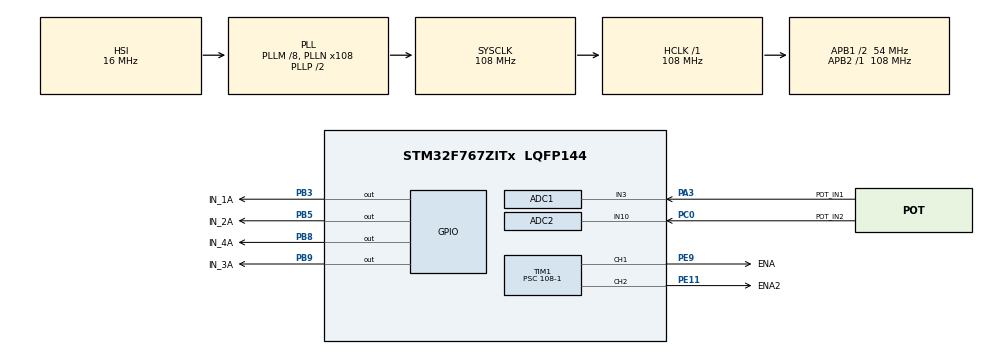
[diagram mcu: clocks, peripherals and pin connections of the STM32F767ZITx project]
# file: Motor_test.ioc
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ADC1.Channel-0\#ChannelRegularConversion=ADC_CHANNEL_3
ADC1.NbrOfConversionFlag=1
ADC1.Rank-0\#ChannelRegularConversion=1
ADC1.SamplingTime-0\#ChannelRegularConversion=ADC_SAMPLETIME_3CYCLES
ADC1.master=1
ADC2.Channel-0\#ChannelRegularConversion=ADC_CHANNEL_10
ADC2.NbrOfConversionFlag=1
ADC2.Rank-0\#ChannelRegularConversion=1
ADC2.SamplingTime-0\#ChannelRegularConversion=ADC_SAMPLETIME_3CYCLES
Mcu.Family=STM32F7
Mcu.Name=STM32F767ZITx
Mcu.Package=LQFP144
NVIC.PriorityGroup=NVIC_PRIORITYGROUP_4
PA13.Mode=Serial_Wire
PA13.Signal=SYS_JTMS-SWDIO
PA14.Mode=Serial_Wire
PA14.Signal=SYS_JTCK-SWCLK
PA3.GPIO_Label=POT_IN1
PA3.Signal=SharedAnalog_PA3
PB3.GPIO_Label=IN_1A
PB3.Signal=GPIO_Output
PB5.GPIO_Label=IN_2A
PB5.Signal=GPIO_Output
PB8.GPIO_Label=IN_4A
PB8.Signal=GPIO_Output
PB9.GPIO_Label=IN_3A
PB9.Signal=GPIO_Output
PC0.GPIO_Label=POT_IN2
PC0.Signal=SharedAnalog_PC0
PE11.GPIO_Label=ENA2
PE11.Signal=S_TIM1_CH2
PE9.GPIO_Label=ENA
PE9.Signal=S_TIM1_CH1
PH0/OSC_IN.Mode=HSE-External-Oscillator
PH0/OSC_IN.Signal=RCC_OSC_IN
PH1/OSC_OUT.Mode=HSE-External-Oscillator
PH1/OSC_OUT.Signal=RCC_OSC_OUT
ProjectManager.HeapSize=0x200
ProjectManager.StackSize=0x400
ProjectManager.TargetToolchain=STM32CubeIDE
RCC.48MHZClocksFreq_Value=24000000
RCC.AHBFreq_Value=108000000
RCC.APB1CLKDivider=RCC_HCLK_DIV2
RCC.APB1Freq_Value=54000000
RCC.APB1TimFreq_Value=108000000
RCC.APB2Freq_Value=108000000
RCC.APB2TimFreq_Value=108000000
RCC.CortexFreq_Value=108000000
RCC.HCLKFreq_Value=108000000
RCC.HSE_VALUE=8000000
RCC.HSI_VALUE=16000000
RCC.LSE_VALUE=32768
RCC.PLLM=8
RCC.PLLMUL=RCC_PLL_MUL9
RCC.PLLN=108
RCC.PRESCALERUSB=RCC_USBCLKSOURCE_PLL_DIV1_5
RCC.SYSCLKFreq_VALUE=108000000
RCC.SYSCLKSource=RCC_SYSCLKSOURCE_PLLCLK
RCC.SYSCLKSourceVirtual=RCC_SYSCLKSOURCE_PLLCLK
RCC.USBFreq_Value=108000000
RCC.VCOOutputFreq_Value=216000000
SH.S_TIM1_CH1.0=TIM1_CH1,PWM Generation1 CH1
SH.S_TIM1_CH2.0=TIM1_CH2,PWM Generation2 CH2
SH.SharedAnalog_PA3.0=GPIO_Analog
SH.SharedAnalog_PA3.1=ADC1_IN3,IN3
SH.SharedAnalog_PC0.0=GPIO_Analog
SH.SharedAnalog_PC0.1=ADC2_IN10,IN10
TIM1.Channel-PWM\ Generation1\ CH1=TIM_CHANNEL_1
TIM1.Channel-PWM\ Generation2\ CH2=TIM_CHANNEL_2
TIM1.Period=4095
TIM1.Prescaler=108-1
VP_TIM1_VS_ClockSourceINT.Mode=Internal
board=NUCLEO-F767ZI

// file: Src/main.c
/* USER CODE BEGIN Header */
/**
  ******************************************************************************
  * @file           : main.c
  * @brief          : Main program body
  ******************************************************************************
  * @attention
  *
  * Copyright (c) 2025 STMicroelectronics.
  * All rights reserved.
  *
  * This software is licensed under terms that can be found in the LICENSE file
  * in the root directory of this software component.
  * If no LICENSE file comes with this software, it is provided AS-IS.
  *
  ******************************************************************************
  */
/* USER CODE END Header */
#include "main.h"

/* USER CODE BEGIN PD */
#define MOTOR_MIN 0
#define MOTOR_MAX 4095

#define ADC_MAX_VALUE 4095  /* 12-bit ADC: 0..4095 */
#define DeadZone_MIN 1950
#define DeadZone_MAX 2146
#define SteeringSpeed_MIN 150
/* USER CODE END PD */

ADC_HandleTypeDef hadc1;
ADC_HandleTypeDef hadc2;

TIM_HandleTypeDef htim1;

/* USER CODE BEGIN PV */

uint16_t wheel_adc = 0;
uint16_t current_speed = 0;
uint16_t aks_adc = 0;
uint16_t controlspeed = 0;

/* USER CODE END PV */

void SystemClock_Config(void);
static void MX_GPIO_Init(void);
static void MX_TIM1_Init(void);
static void MX_ADC1_Init(void);
static void MX_ADC2_Init(void);

int main(void)
{

  /* MCU Configuration--------------------------------------------------------*/

  /* Reset of all peripherals, Initializes the Flash interface and the Systick. */
  HAL_Init();

  /* Configure the system clock */
  SystemClock_Config();

  /* Initialize all configured peripherals */
  MX_GPIO_Init();
  MX_TIM1_Init();
  MX_ADC1_Init();
  MX_ADC2_Init();
  /* USER CODE BEGIN 2 */
  HAL_TIM_PWM_Start(&htim1, TIM_CHANNEL_1);  // Note that htim1 is the handle generated by CubeMX for TIM1
  HAL_TIM_PWM_Start(&htim1, TIM_CHANNEL_2);  // Note that htim1 is the handle generated by CubeMX for TIM1

  HAL_GPIO_WritePin(IN_1A_GPIO_Port, IN_1A_Pin, GPIO_PIN_RESET);
  HAL_GPIO_WritePin(IN_2A_GPIO_Port, IN_2A_Pin, GPIO_PIN_SET);
  HAL_GPIO_WritePin(IN_3A_GPIO_Port, IN_3A_Pin, GPIO_PIN_RESET);
  HAL_GPIO_WritePin(IN_4A_GPIO_Port, IN_4A_Pin, GPIO_PIN_SET);
  /* USER CODE END 2 */

  /* Infinite loop */
  while (1)
  {

    /* USER CODE BEGIN 3 */
      HAL_ADC_Start(&hadc1);
      HAL_ADC_PollForConversion(&hadc1, HAL_MAX_DELAY);
      wheel_adc = HAL_ADC_GetValue(&hadc1);

      HAL_ADC_Start(&hadc2);
      HAL_ADC_PollForConversion(&hadc2, HAL_MAX_DELAY);
      aks_adc = HAL_ADC_GetValue(&hadc2);

      /* scale ADC (0..4095) to MOTOR_MIN..MOTOR_MAX safely using 32-bit math */
      current_speed = (uint16_t)(( (uint32_t)wheel_adc * (uint32_t)(MOTOR_MAX - MOTOR_MIN) + (ADC_MAX_VALUE/2) ) / ADC_MAX_VALUE + MOTOR_MIN);

      // Left steering logic
      if (aks_adc < 1950)
      {
        if(current_speed < 150)
        {
          controlspeed = current_speed;
        }

        else if (current_speed <= 1500)
        {
         controlspeed = current_speed - ((aks_adc * (0-500))/1950 + 500);
        }

        else
        {
        controlspeed = current_speed - ((aks_adc * (0-1500))/1950 + 1500);
        }

        __HAL_TIM_SET_COMPARE(&htim1,TIM_CHANNEL_1, controlspeed);
        __HAL_TIM_SET_COMPARE(&htim1, TIM_CHANNEL_2, current_speed);

      }

      // checks if the wheel is within the deadzone, aka the wheel is in the middle
      if (aks_adc >= DeadZone_MIN && aks_adc <= DeadZone_MAX)
      {
        __HAL_TIM_SET_COMPARE(&htim1,TIM_CHANNEL_1, current_speed);
        __HAL_TIM_SET_COMPARE(&htim1, TIM_CHANNEL_2, current_speed);
      }

      // Right steering logic
      if (aks_adc > 2146)
      {
        if(current_speed < 150)
        {
          controlspeed = current_speed;
        }

        else if (current_speed <= 1500)
        {
          controlspeed = current_speed - ((aks_adc-2146)*500)/(4095-2146);
        }

        else
        {
         controlspeed = current_speed - ((aks_adc-2146)*1500)/(4095-2146);
        }
         __HAL_TIM_SET_COMPARE(&htim1,TIM_CHANNEL_1, current_speed);
        __HAL_TIM_SET_COMPARE(&htim1, TIM_CHANNEL_2, controlspeed);
      }
      HAL_Delay(500);

  }
  /* USER CODE END 3 */
}

void SystemClock_Config(void)
{
  RCC_OscInitTypeDef RCC_OscInitStruct = {0};
  RCC_ClkInitTypeDef RCC_ClkInitStruct = {0};

  /** Configure the main internal regulator output voltage
  */
  __HAL_RCC_PWR_CLK_ENABLE();
  __HAL_PWR_VOLTAGESCALING_CONFIG(PWR_REGULATOR_VOLTAGE_SCALE3);

  /** Initializes the RCC Oscillators according to the specified parameters
  * in the RCC_OscInitTypeDef structure.
  */
  RCC_OscInitStruct.OscillatorType = RCC_OSCILLATORTYPE_HSI;
  RCC_OscInitStruct.HSIState = RCC_HSI_ON;
  RCC_OscInitStruct.HSICalibrationValue = RCC_HSICALIBRATION_DEFAULT;
  RCC_OscInitStruct.PLL.PLLState = RCC_PLL_ON;
  RCC_OscInitStruct.PLL.PLLSource = RCC_PLLSOURCE_HSI;
  RCC_OscInitStruct.PLL.PLLM = 8;
  RCC_OscInitStruct.PLL.PLLN = 108;
  RCC_OscInitStruct.PLL.PLLP = RCC_PLLP_DIV2;
  RCC_OscInitStruct.PLL.PLLQ = 2;
  RCC_OscInitStruct.PLL.PLLR = 2;
  if (HAL_RCC_OscConfig(&RCC_OscInitStruct) != HAL_OK)
  {
    Error_Handler();
  }

  /** Activate the Over-Drive mode
  */
  if (HAL_PWREx_EnableOverDrive() != HAL_OK)
  {
    Error_Handler();
  }

  /** Initializes the CPU, AHB and APB buses clocks
  */
  RCC_ClkInitStruct.ClockType = RCC_CLOCKTYPE_HCLK|RCC_CLOCKTYPE_SYSCLK
                              |RCC_CLOCKTYPE_PCLK1|RCC_CLOCKTYPE_PCLK2;
  RCC_ClkInitStruct.SYSCLKSource = RCC_SYSCLKSOURCE_PLLCLK;
  RCC_ClkInitStruct.AHBCLKDivider = RCC_SYSCLK_DIV1;
  RCC_ClkInitStruct.APB1CLKDivider = RCC_HCLK_DIV2;
  RCC_ClkInitStruct.APB2CLKDivider = RCC_HCLK_DIV1;

  if (HAL_RCC_ClockConfig(&RCC_ClkInitStruct, FLASH_LATENCY_3) != HAL_OK)
  {
    Error_Handler();
  }
}

static void MX_ADC1_Init(void)
{

  ADC_ChannelConfTypeDef sConfig = {0};

  /** Configure the global features of the ADC (Clock, Resolution, Data Alignment and number of conversion)
  */
  hadc1.Instance = ADC1;
  hadc1.Init.ClockPrescaler = ADC_CLOCK_SYNC_PCLK_DIV4;
  hadc1.Init.Resolution = ADC_RESOLUTION_12B;
  hadc1.Init.ScanConvMode = ADC_SCAN_DISABLE;
  hadc1.Init.ContinuousConvMode = DISABLE;
  hadc1.Init.DiscontinuousConvMode = DISABLE;
  hadc1.Init.ExternalTrigConvEdge = ADC_EXTERNALTRIGCONVEDGE_NONE;
  hadc1.Init.ExternalTrigConv = ADC_SOFTWARE_START;
  hadc1.Init.DataAlign = ADC_DATAALIGN_RIGHT;
  hadc1.Init.NbrOfConversion = 1;
  hadc1.Init.DMAContinuousRequests = DISABLE;
  hadc1.Init.EOCSelection = ADC_EOC_SINGLE_CONV;
  if (HAL_ADC_Init(&hadc1) != HAL_OK)
  {
    Error_Handler();
  }

  /** Configure for the selected ADC regular channel its corresponding rank in the sequencer and its sample time.
  */
  sConfig.Channel = ADC_CHANNEL_3;
  sConfig.Rank = ADC_REGULAR_RANK_1;
  sConfig.SamplingTime = ADC_SAMPLETIME_3CYCLES;
  if (HAL_ADC_ConfigChannel(&hadc1, &sConfig) != HAL_OK)
  {
    Error_Handler();
  }

}

static void MX_ADC2_Init(void)
{

  ADC_ChannelConfTypeDef sConfig = {0};

  /** Configure the global features of the ADC (Clock, Resolution, Data Alignment and number of conversion)
  */
  hadc2.Instance = ADC2;
  hadc2.Init.ClockPrescaler = ADC_CLOCK_SYNC_PCLK_DIV4;
  hadc2.Init.Resolution = ADC_RESOLUTION_12B;
  hadc2.Init.ScanConvMode = ADC_SCAN_DISABLE;
  hadc2.Init.ContinuousConvMode = DISABLE;
  hadc2.Init.DiscontinuousConvMode = DISABLE;
  hadc2.Init.ExternalTrigConvEdge = ADC_EXTERNALTRIGCONVEDGE_NONE;
  hadc2.Init.ExternalTrigConv = ADC_SOFTWARE_START;
  hadc2.Init.DataAlign = ADC_DATAALIGN_RIGHT;
  hadc2.Init.NbrOfConversion = 1;
  hadc2.Init.DMAContinuousRequests = DISABLE;
  hadc2.Init.EOCSelection = ADC_EOC_SINGLE_CONV;
  if (HAL_ADC_Init(&hadc2) != HAL_OK)
  {
    Error_Handler();
  }

  /** Configure for the selected ADC regular channel its corresponding rank in the sequencer and its sample time.
  */
  sConfig.Channel = ADC_CHANNEL_10;
  sConfig.Rank = ADC_REGULAR_RANK_1;
  sConfig.SamplingTime = ADC_SAMPLETIME_3CYCLES;
  if (HAL_ADC_ConfigChannel(&hadc2, &sConfig) != HAL_OK)
  {
    Error_Handler();
  }

}

static void MX_TIM1_Init(void)
{

  TIM_ClockConfigTypeDef sClockSourceConfig = {0};
  TIM_MasterConfigTypeDef sMasterConfig = {0};
  TIM_OC_InitTypeDef sConfigOC = {0};
  TIM_BreakDeadTimeConfigTypeDef sBreakDeadTimeConfig = {0};

  htim1.Instance = TIM1;
  htim1.Init.Prescaler = 108-1;
  htim1.Init.CounterMode = TIM_COUNTERMODE_UP;
  htim1.Init.Period = 4095;
  htim1.Init.ClockDivision = TIM_CLOCKDIVISION_DIV1;
  htim1.Init.RepetitionCounter = 0;
  htim1.Init.AutoReloadPreload = TIM_AUTORELOAD_PRELOAD_DISABLE;
  if (HAL_TIM_Base_Init(&htim1) != HAL_OK)
  {
    Error_Handler();
  }
  sClockSourceConfig.ClockSource = TIM_CLOCKSOURCE_INTERNAL;
  if (HAL_TIM_ConfigClockSource(&htim1, &sClockSourceConfig) != HAL_OK)
  {
    Error_Handler();
  }
  if (HAL_TIM_PWM_Init(&htim1) != HAL_OK)
  {
    Error_Handler();
  }
  sMasterConfig.MasterOutputTrigger = TIM_TRGO_RESET;
  sMasterConfig.MasterOutputTrigger2 = TIM_TRGO2_RESET;
  sMasterConfig.MasterSlaveMode = TIM_MASTERSLAVEMODE_DISABLE;
  if (HAL_TIMEx_MasterConfigSynchronization(&htim1, &sMasterConfig) != HAL_OK)
  {
    Error_Handler();
  }
  sConfigOC.OCMode = TIM_OCMODE_PWM1;
  sConfigOC.Pulse = 0;
  sConfigOC.OCPolarity = TIM_OCPOLARITY_HIGH;
  sConfigOC.OCNPolarity = TIM_OCNPOLARITY_HIGH;
  sConfigOC.OCFastMode = TIM_OCFAST_DISABLE;
  sConfigOC.OCIdleState = TIM_OCIDLESTATE_RESET;
  sConfigOC.OCNIdleState = TIM_OCNIDLESTATE_RESET;
  if (HAL_TIM_PWM_ConfigChannel(&htim1, &sConfigOC, TIM_CHANNEL_1) != HAL_OK)
  {
    Error_Handler();
  }
  if (HAL_TIM_PWM_ConfigChannel(&htim1, &sConfigOC, TIM_CHANNEL_2) != HAL_OK)
  {
    Error_Handler();
  }
  sBreakDeadTimeConfig.OffStateRunMode = TIM_OSSR_DISABLE;
  sBreakDeadTimeConfig.OffStateIDLEMode = TIM_OSSI_DISABLE;
  sBreakDeadTimeConfig.LockLevel = TIM_LOCKLEVEL_OFF;
  sBreakDeadTimeConfig.DeadTime = 0;
  sBreakDeadTimeConfig.BreakState = TIM_BREAK_DISABLE;
  sBreakDeadTimeConfig.BreakPolarity = TIM_BREAKPOLARITY_HIGH;
  sBreakDeadTimeConfig.BreakFilter = 0;
  sBreakDeadTimeConfig.Break2State = TIM_BREAK2_DISABLE;
  sBreakDeadTimeConfig.Break2Polarity = TIM_BREAK2POLARITY_HIGH;
  sBreakDeadTimeConfig.Break2Filter = 0;
  sBreakDeadTimeConfig.AutomaticOutput = TIM_AUTOMATICOUTPUT_DISABLE;
  if (HAL_TIMEx_ConfigBreakDeadTime(&htim1, &sBreakDeadTimeConfig) != HAL_OK)
  {
    Error_Handler();
  }
  HAL_TIM_MspPostInit(&htim1);

}

static void MX_GPIO_Init(void)
{
  GPIO_InitTypeDef GPIO_InitStruct = {0};

  /* GPIO Ports Clock Enable */
  __HAL_RCC_GPIOH_CLK_ENABLE();
  __HAL_RCC_GPIOC_CLK_ENABLE();
  __HAL_RCC_GPIOA_CLK_ENABLE();
  __HAL_RCC_GPIOE_CLK_ENABLE();
  __HAL_RCC_GPIOB_CLK_ENABLE();

  /*Configure GPIO pin Output Level */
  HAL_GPIO_WritePin(GPIOB, IN_1A_Pin|IN_2A_Pin|IN_4A_Pin|IN_3A_Pin, GPIO_PIN_RESET);

  /*Configure GPIO pins : IN_1A_Pin IN_2A_Pin IN_4A_Pin IN_3A_Pin */
  GPIO_InitStruct.Pin = IN_1A_Pin|IN_2A_Pin|IN_4A_Pin|IN_3A_Pin;
  GPIO_InitStruct.Mode = GPIO_MODE_OUTPUT_PP;
  GPIO_InitStruct.Pull = GPIO_NOPULL;
  GPIO_InitStruct.Speed = GPIO_SPEED_FREQ_LOW;
  HAL_GPIO_Init(GPIOB, &GPIO_InitStruct);

}

void Error_Handler(void)
{
  __disable_irq();
  while (1)
  {
  }
}
